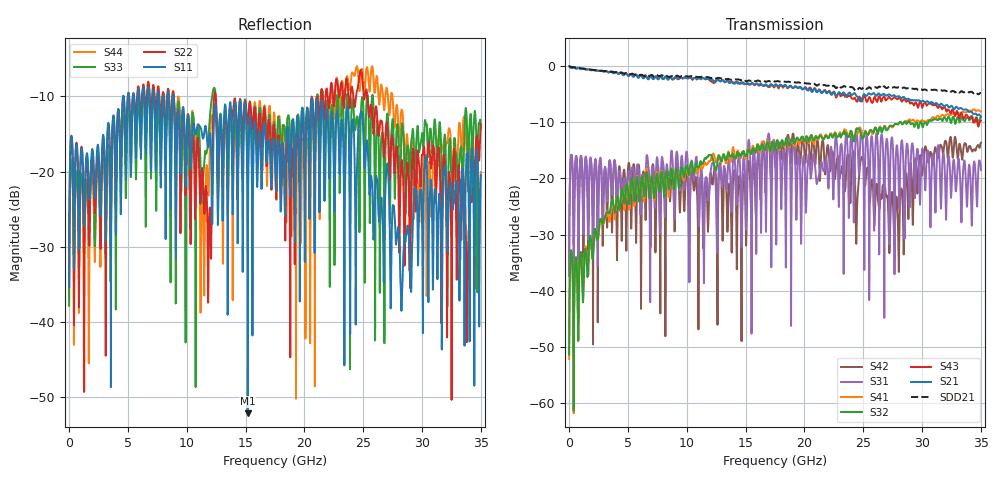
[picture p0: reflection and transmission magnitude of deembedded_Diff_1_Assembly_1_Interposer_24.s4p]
! By using this Touchstone file you agree to the following terms and conditions.
! Copyright
!	Copyright 2018 FCI
! This Touchstone file has been created for our customers and associates.
! FCI retains copyright in the entire text and graphic content of
! this file.  You may view, copy and distribute this file freely.
! You are not authorized to modify this file in any manner without
! the written permission of FCI.  All other rights are reserved by FCI.
! Information
! FCI endeavors to use its reasonable efforts to place accurate and
! up-to-date information in this Touchstone file.  However, this file is
! provided on an as is basis.  FCI GIVES NO WARRANTY, EXPRESS OR
! IMPLIED, WITH RESPECT TO ANY INFORMATION PROVIDED IN THIS FILE,
! INCLUDING BUT NOT LIMITED TO THE IMPLIED WARRANTIES OF
! MERCHANTABILITY, FITNESS FOR A PARTICULAR PURPOSE OR NON-INFRINGEMENT.
! FCI SHALL NOT BE LIABLE FOR ANY DIRECT, SPECIAL, INDIRECT,
! CONSEQUENTIAL, PUNITIVE OR OTHER DAMAGES BASED ON USE OF THIS FILE.
! Trademarks
! This file may include names for products that are trademarks
! used by FCI and FCI Group companies.
! Unauthorized use or misuse of such trademarks is prohibited.
#	Hz	S	RI	R	50
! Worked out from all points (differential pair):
!   3500 points, 10 MHz to 35 GHz, reference 50 ohm
!   strongest paths, dB at 10 MHz, 8.76 GHz, 17.51 GHz, 26.26 GHz, 35 GHz:
!     S21: 0.0, -2.3, -3.3, -4.9, -9.0
!     S43: 0.0, -2.4, -3.5, -5.9, -9.7
!     S32: -51.3, -18.8, -14.9, -12.0, -9.1
!     S41: -52.1, -18.7, -15.0, -11.7, -8.1
!     S31: -37.4, -15.7, -16.4, -15.8, -18.5
!     S42: -36.9, -18.9, -17.0, -23.9, -13.7
!   taken as a pair (ports 1,3 in; 2,4 out), SDD21 dB: 0.0, -1.8, -2.8, -3.8, -4.8
!   lowest |S11| = -52.1 dB at 15.19 GHz (marker M1), VSWR 1.00, Z = 49.8 - j0.0371 ohm
!   |S11| at or under -10 dB: start of sweep to 4.609 GHz; 4.637 GHz to 5.004 GHz (367.5 MHz wide, 7.62 % of centre); 8.894 GHz to end of sweep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
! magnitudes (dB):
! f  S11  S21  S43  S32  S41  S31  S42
! 10 MHz  -35.3  0.0  0.0  -51.3  -52.1  -37.4  -36.9
! 11.93 GHz  -15.2  -2.3  -2.5  -15.9  -16.9  -22.1  -21.1
! 15.19 GHz  -52.1  -3.1  -3.1  -15.0  -14.7  -15.1  -18.5
! 24.79 GHz  -12.2  -6.3  -5.9  -11.9  -11.2  -11.9  -16.8
! 28.28 GHz  -36.7  -5.7  -6.3  -10.3  -10.2  -13.2  -22.0
! 33.87 GHz  -17.5  -7.9  -8.9  -9.2  -8.1  -23.0  -15.2
! 35 GHz  -20.5  -9.0  -9.7  -9.1  -8.1  -18.5  -13.7
